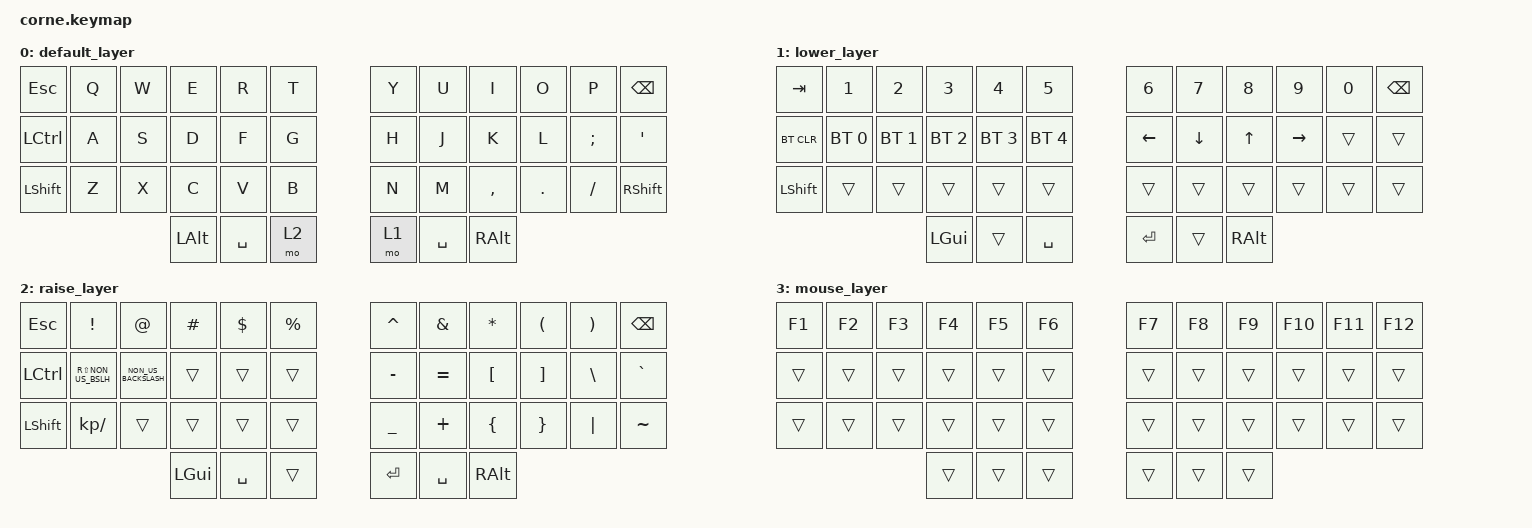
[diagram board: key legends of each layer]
/*
 * Copyright (c) 2020 The ZMK Contributors
 *
 * SPDX-License-Identifier: MIT
 */

#include <behaviors.dtsi>
#include <dt-bindings/zmk/bt.h>
#include <dt-bindings/zmk/keys.h>

/ {
    combos {
        compatible = "zmk,combos";

        mouse_rigth {
            bindings = <&kp K_CONTEXT_MENU>;
            key-positions = <20 21>;
        };

        enter {
            bindings = <&kp ENTER>;
            key-positions = <22 23>;
        };

        tab {
            bindings = <&kp TAB>;
            key-positions = <0 1>;
        };

        togle_mouse {
            bindings = <&tog 3>;
            key-positions = <28 29>;
        };

        window_cmd {
            bindings = <&kp LEFT_WIN>;
            key-positions = <28 27>;
        };

        second_enter {
            bindings = <&kp ENTER>;
            key-positions = <21 22>;
        };
    };

    keymap {
        compatible = "zmk,keymap";

        default_layer {
            // -----------------------------------------------------------------------------------------
            // |  TAB |  Q  |  W  |  E  |  R  |  T  |   |  Y  |  U   |  I  |  O  |  P  | BSPC |
            // | CTRL |  A  |  S  |  D  |  F  |  G  |   |  H  |  J   |  K  |  L  |  ;  |  '   |
            // | SHFT |  Z  |  X  |  C  |  V  |  B  |   |  N  |  M   |  ,  |  .  |  /  | ESC  |
            //                    | GUI | LWR | SPC |   | ENT | RSE  | ALT |

            bindings = <
&kp ESC    &kp Q  &kp W  &kp E         &kp R      &kp T    &kp Y  &kp U      &kp I      &kp O    &kp P     &kp BSPC
&kp LCTRL  &kp A  &kp S  &kp D         &kp F      &kp G    &kp H  &kp J      &kp K      &kp L    &kp SEMI  &kp SQT
&kp LSHFT  &kp Z  &kp X  &kp C         &kp V      &kp B    &kp N  &kp M      &kp COMMA  &kp DOT  &kp FSLH  &kp RIGHT_SHIFT
                         &kp LEFT_ALT  &kp SPACE  &mo 2    &mo 1  &kp SPACE  &kp RALT
            >;
        };

        lower_layer {
            // -----------------------------------------------------------------------------------------
            // |  TAB |  1  |  2  |  3  |  4  |  5  |   |  6  |  7  |  8  |  9  |  0  | BSPC |
            // | BTCLR| BT1 | BT2 | BT3 | BT4 | BT5 |   | LFT | DWN |  UP | RGT |     |      |
            // | SHFT |     |     |     |     |     |   |     |     |     |     |     |      |
            //                    | GUI |     | SPC |   | ENT |     | ALT |

            bindings = <
&kp TAB     &kp N1        &kp N2        &kp N3        &kp N4        &kp N5          &kp N6    &kp N7    &kp N8    &kp N9     &kp N0  &kp BSPC
&bt BT_CLR  &bt BT_SEL 0  &bt BT_SEL 1  &bt BT_SEL 2  &bt BT_SEL 3  &bt BT_SEL 4    &kp LEFT  &kp DOWN  &kp UP    &kp RIGHT  &trans  &trans
&kp LSHFT   &trans        &trans        &trans        &trans        &trans          &trans    &trans    &trans    &trans     &trans  &trans
                                        &kp LGUI      &trans        &kp SPACE       &kp RET   &trans    &kp RALT
            >;
        };

        raise_layer {
            // -----------------------------------------------------------------------------------------
            // |  TAB |  !  |  @  |  #  |  $  |  %  |   |  ^  |  &  |  *  |  (  |  )  | BSPC |
            // | CTRL |     |     |     |     |     |   |  -  |  =  |  [  |  ]  |  \  |  `   |
            // | SHFT |     |     |     |     |     |   |  _  |  +  |  {  |  }  | "|" |  ~   |
            //                    | GUI |     | SPC |   | ENT |     | ALT |

            bindings = <
&kp ESC    &kp EXCL             &kp AT                &kp HASH  &kp DLLR   &kp PRCNT    &kp CARET  &kp AMPS   &kp ASTRK  &kp LPAR  &kp RPAR  &kp BSPC
&kp LCTRL  &kp RS(NON_US_BSLH)  &kp NON_US_BACKSLASH  &trans    &trans     &trans       &kp MINUS  &kp EQUAL  &kp LBKT   &kp RBKT  &kp BSLH  &kp GRAVE
&kp LSHFT  &kp KP_DIVIDE        &trans                &trans    &trans     &trans       &kp UNDER  &kp PLUS   &kp LBRC   &kp RBRC  &kp PIPE  &kp TILDE
                                                      &kp LGUI  &kp SPACE  &trans       &kp RET    &kp SPACE  &kp RALT
            >;
        };

        mouse_layer {
            bindings = <
&kp F1  &kp F2  &kp F3  &kp F4  &kp F5  &kp F6    &kp F7  &kp F8  &kp F9  &kp F10  &kp F11  &kp F12
&trans  &trans  &trans  &trans  &trans  &trans    &trans  &trans  &trans  &trans   &trans   &trans
&trans  &trans  &trans  &trans  &trans  &trans    &trans  &trans  &trans  &trans   &trans   &trans
                        &trans  &trans  &trans    &trans  &trans  &trans
            >;
        };
    };
};
